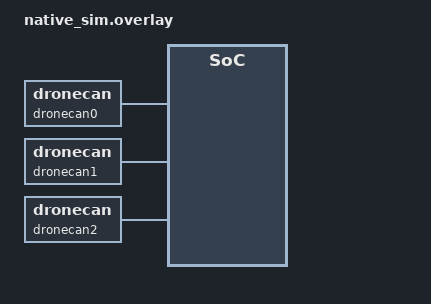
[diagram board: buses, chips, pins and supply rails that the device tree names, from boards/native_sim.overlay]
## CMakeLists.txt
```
# SPDX-License-Identifier: Apache-2.0

cmake_minimum_required(VERSION 3.28.0)

# Use the module from this repository so the test builds standalone.
list(APPEND ZEPHYR_EXTRA_MODULES ${CMAKE_CURRENT_LIST_DIR}/../..)

find_package(Zephyr REQUIRED HINTS $ENV{ZEPHYR_BASE})
project(dronecan_dnia)

target_sources(app PRIVATE src/main.c)
```

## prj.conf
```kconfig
CONFIG_ZTEST=y
CONFIG_CAN=y
CONFIG_LOG=y
CONFIG_DRONECAN=y
CONFIG_DRONECAN_LOG_LEVEL_WRN=y
CONFIG_DRONECAN_LOOPBACK_MODE=y
CONFIG_DRONECAN_NODE_TABLE=y
CONFIG_DRONECAN_DNIA_SERVER=y
CONFIG_DRONECAN_DNIA_CLIENT=y

CONFIG_DRONECAN_NODE_STATUS_PERIOD_MS=100
```

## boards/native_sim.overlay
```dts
// Node 10 is the allocator (the first ID it could hand out), the two 0 nodes are anonymous clients:
// one uses the library, the other is driven by the test
/ {
	dronecan0: dronecan0 {
		compatible = "zephyr,dronecan";
		can-buses = <&can_loopback0>;
		node-id = <10>;
		status = "okay";
	};

	dronecan1: dronecan1 {
		compatible = "zephyr,dronecan";
		can-buses = <&can_loopback0>;
		node-id = <0>;
		status = "okay";
	};

	dronecan2: dronecan2 {
		compatible = "zephyr,dronecan";
		can-buses = <&can_loopback0>;
		node-id = <0>;
		status = "okay";
	};
};
```

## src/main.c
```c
/*
 * Copyright (c) 2026 3DR, Inc.
 * SPDX-License-Identifier: Apache-2.0
 */

#include <string.h>

#include <zephyr/kernel.h>
#include <zephyr/ztest.h>

#include <dronecan.h>
#include <uavcan.protocol.dynamic_node_id.Allocation.h>

static const struct device *const alloc = DEVICE_DT_GET(DT_NODELABEL(dronecan0));  // 10, allocator
static const struct device *const lib = DEVICE_DT_GET(DT_NODELABEL(dronecan1));    // anonymous, library client
static const struct device *const raw = DEVICE_DT_GET(DT_NODELABEL(dronecan2));    // anonymous, driven here

static const struct dronecan_msg_desc alloc_desc = {
	UAVCAN_PROTOCOL_DYNAMIC_NODE_ID_ALLOCATION_ID,
	UAVCAN_PROTOCOL_DYNAMIC_NODE_ID_ALLOCATION_SIGNATURE,
	UAVCAN_PROTOCOL_DYNAMIC_NODE_ID_ALLOCATION_MAX_SIZE,
};

// The nodes sharing the controller are started in this order, so the first one owns it
static const struct device *const all[] = {alloc, lib, raw};

static void start_nodes(const struct device *const *nodes, size_t n)
{
	for (size_t i = 0; i < n; i++) {
		zassert_ok(dronecan_start(nodes[i]));
	}
}

static void before(void *fixture)
{
}

// Reverse order: the first node started owns the controller
static void after(void *fixture)
{
	for (int i = ARRAY_SIZE(all) - 1; i >= 0; i--) {
		dronecan_stop(all[i]);
	}
}

ZTEST_SUITE(dronecan_dnia, NULL, NULL, before, after, NULL);

// The client side of the handshake, by hand, on the "raw" node
static struct dronecan_subscription raw_sub;
static const uint8_t *raw_uid;
static volatile int raw_granted;
static K_SEM_DEFINE(raw_done, 0, 1);

static void raw_send(const uint8_t *uid, int offset, bool first)
{
	struct uavcan_protocol_dynamic_node_id_Allocation req = {0};
	uint8_t buf[UAVCAN_PROTOCOL_DYNAMIC_NODE_ID_ALLOCATION_MAX_SIZE];
	int n = MIN(6, 16 - offset);

	req.first_part_of_unique_id = first;
	req.unique_id.len = n;
	memcpy(req.unique_id.data, uid + offset, n);
	zassert_ok(dronecan_broadcast(raw, &alloc_desc, DRONECAN_PRIORITY_LOW, buf,
				      uavcan_protocol_dynamic_node_id_Allocation_encode(&req, buf)));
}

static void raw_cb(const struct device *dev, const struct dronecan_transfer *t, void *user_data)
{
	uint16_t got = t->payload_len - 1; // the node ID byte comes first

	if (t->source_node_id == 0 || raw_uid == NULL || got > 16 ||
	    memcmp(t->payload + 1, raw_uid, got) != 0) {
		return; // a request, or an answer for somebody else
	}
	if (got == 16) {
		raw_granted = t->payload[0] >> 1;
		k_sem_give(&raw_done);
		return;
	}
	raw_send(raw_uid, got, false);
}

static int raw_request(const uint8_t *uid)
{
	raw_uid = uid;
	raw_granted = 0;
	k_sem_reset(&raw_done);
	raw_send(uid, 0, true);
	return k_sem_take(&raw_done, K_SECONDS(2)) == 0 ? raw_granted : -1;
}

static void uid_fill(uint8_t *uid, uint8_t base)
{
	for (int i = 0; i < 16; i++) {
		uid[i] = base + i;
	}
}

ZTEST(dronecan_dnia, test_server_grants_and_remembers)
{
	uint8_t uid1[16], uid2[16];
	struct dronecan_stats s;

	uid_fill(uid1, 0x10);
	uid_fill(uid2, 0x80);
	start_nodes(all, 3);
	zassert_ok(dronecan_subscribe(raw, &raw_sub, &alloc_desc, raw_cb, NULL));

	// The allocator is node 10, so the first ID it can hand out is 11
	zassert_equal(raw_request(uid1), 11, "first unique ID");
	zassert_equal(raw_request(uid1), 11, "the same unique ID gets the same node ID");
	zassert_equal(raw_request(uid2), 12, "another unique ID gets the next one");

	dronecan_get_stats(alloc, &s);
	zassert_equal(s.alloc_s1, 3);
	zassert_equal(s.alloc_s2, 3);
	zassert_equal(s.alloc_s3, 3);
	zassert_equal(s.alloc_grant, 3);
	zassert_equal(s.last_grant_id, 12);
	zassert_ok(dronecan_unsubscribe(raw, &raw_sub));
}

ZTEST(dronecan_dnia, test_client_gets_an_id)
{
	int id;

	start_nodes(all, 3);
	zassert_equal(dronecan_get_node_id(lib), 0);
	zassert_ok(dronecan_dnia_request(lib, K_SECONDS(5)));

	id = dronecan_get_node_id(lib);
	zassert_true(id >= 11 && id <= 125, "node ID %d", id);
	zassert_equal(dronecan_dnia_request(lib, K_SECONDS(1)), -EALREADY);

	// A restarted node asks again and gets the same ID
	zassert_ok(dronecan_stop(lib));
	zassert_ok(dronecan_start(lib));
	zassert_equal(dronecan_get_node_id(lib), 0);
	zassert_ok(dronecan_dnia_request(lib, K_SECONDS(5)));
	zassert_equal(dronecan_get_node_id(lib), id, "a different ID the second time");
}

ZTEST(dronecan_dnia, test_client_needs_a_started_node)
{
	zassert_equal(dronecan_dnia_request(lib, K_SECONDS(1)), -ENETDOWN);
}

ZTEST(dronecan_dnia, test_client_times_out_without_an_allocator)
{
	const struct device *const nodes[] = {lib, raw};
	struct dronecan_stats s;
	int64_t t0;
	int ret;

	start_nodes(nodes, 2);
	t0 = k_uptime_get();
	ret = dronecan_dnia_request(lib, K_SECONDS(2));
	t0 = k_uptime_get() - t0;

	zassert_equal(ret, -ETIMEDOUT);
	zassert_true(t0 >= 2000 && t0 < 4500, "took %lld ms", t0);
	zassert_equal(dronecan_get_node_id(lib), 0);
	dronecan_get_stats(lib, &s);
	zassert_true(s.tx >= 2, "no attempts made: tx=%u", s.tx);
}

static K_THREAD_STACK_DEFINE(req_stack, 2048);
static struct k_thread req_thread;
static volatile int req_ret;

static void req_fn(void *a, void *b, void *c)
{
	req_ret = dronecan_dnia_request(lib, K_FOREVER);
}

ZTEST(dronecan_dnia, test_client_busy_and_cancelled_by_stop)
{
	const struct device *const nodes[] = {lib, raw};

	start_nodes(nodes, 2); // no allocator, so the request stays pending
	req_ret = 12345;
	k_thread_create(&req_thread, req_stack, K_THREAD_STACK_SIZEOF(req_stack), req_fn, NULL, NULL,
			NULL, K_PRIO_PREEMPT(5), 0, K_NO_WAIT);
	k_sleep(K_MSEC(300));

	zassert_equal(dronecan_dnia_request(lib, K_SECONDS(1)), -EBUSY);
	zassert_ok(dronecan_stop(lib));
	zassert_ok(k_thread_join(&req_thread, K_SECONDS(3)), "the request did not end");
	zassert_equal(req_ret, -ECANCELED);
}
```
